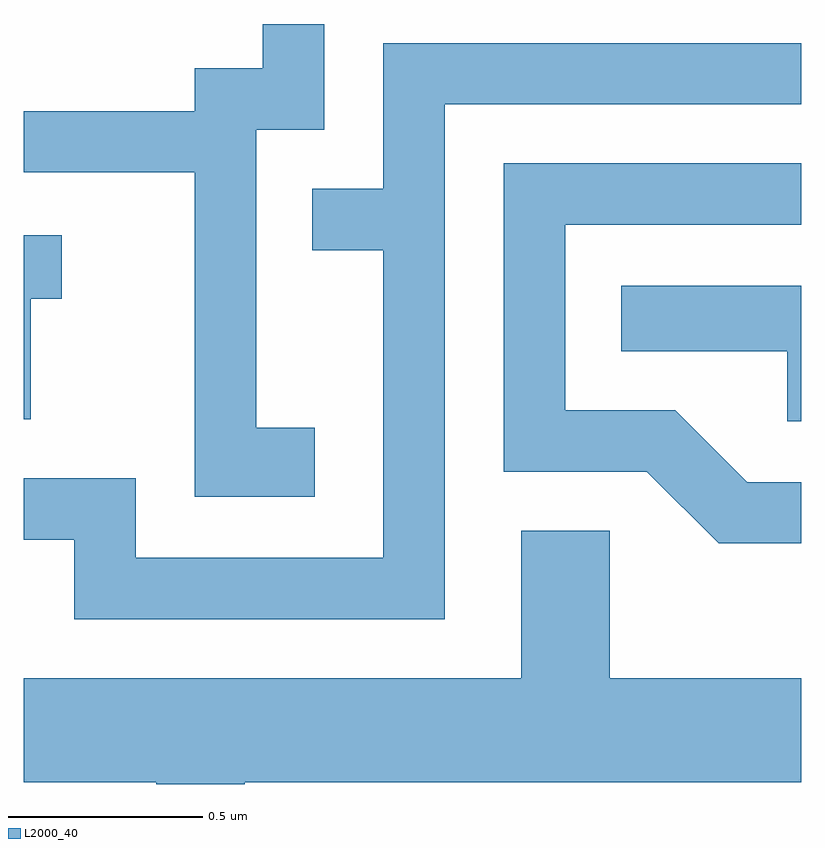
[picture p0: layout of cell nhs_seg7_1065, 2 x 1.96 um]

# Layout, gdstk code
import gdstk
lib = gdstk.Library(unit=1e-6, precision=1e-09)
def P(c, l, *ps):  # polygons
    for p in ps: c.add(gdstk.Polygon(p, *l))
L2000_40 = (2000, 40)

nhs_seg7_1065 = lib.new_cell('nhs_seg7_1065')
P(nhs_seg7_1065, L2000_40, [(193.359,1775.169),(193.209,1775.169),(193.209,1775.936),(193.384,1775.936),(193.384,1776.208),(193.226,1776.208),(193.226,1776.094),(193.051,1776.094),(193.051,1775.984),(192.611,1775.984),(192.611,1775.826),(193.051,1775.826),(193.051,1774.991),(193.359,1774.991)],
  [(193.694,1776.001),(194.611,1776.001),(194.611,1776.159),(193.536,1776.159),(193.536,1775.784),(193.353,1775.784),(193.353,1775.626),(193.536,1775.626),(193.536,1774.834),(192.899,1774.834),(192.899,1775.039),(192.611,1775.039),(192.611,1774.881),(192.741,1774.881),(192.741,1774.676),(193.694,1774.676)],
  [(194.611,1775.029),(194.472,1775.029),(194.287,1775.214),(194.004,1775.214),(194.004,1775.691),(194.611,1775.691),(194.611,1775.849),(193.846,1775.849),(193.846,1775.056),(194.214,1775.056),(194.399,1774.871),(194.611,1774.871)],
  [(192.629,1775.501),(192.708,1775.501),(192.708,1775.664),(192.611,1775.664),(192.611,1775.191),(192.629,1775.191)],
  [(194.611,1775.534),(194.148,1775.534),(194.148,1775.366),(194.576,1775.366),(194.576,1775.186),(194.611,1775.186)],
  [(193.179,1774.256),(194.611,1774.256),(194.611,1774.524),(194.119,1774.524),(194.119,1774.904),(193.891,1774.904),(193.891,1774.524),(192.611,1774.524),(192.611,1774.256),(192.951,1774.256),(192.951,1774.252),(193.179,1774.252)])

lib.write_gds('nhs_seg7_1065.gds')
